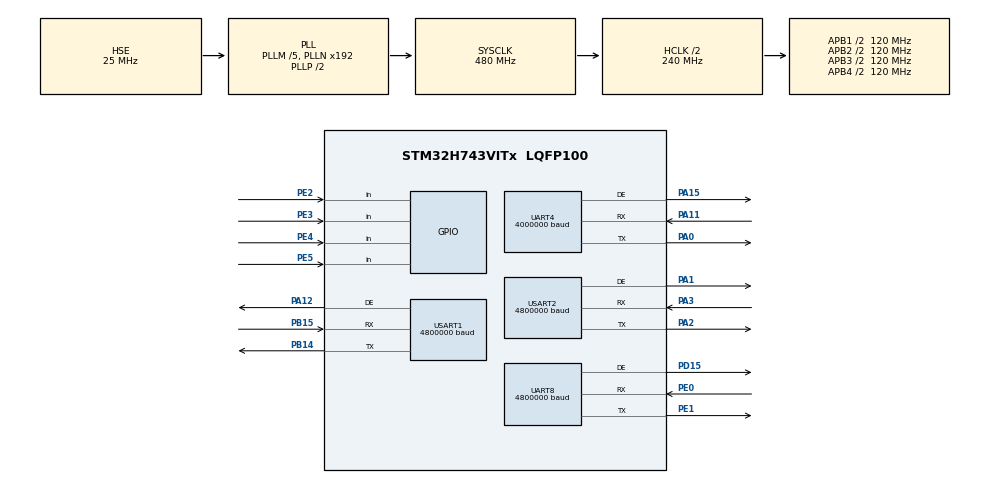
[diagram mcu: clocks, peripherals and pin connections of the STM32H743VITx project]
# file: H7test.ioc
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CORTEX_M7.default_mode_Activation=1
Mcu.Family=STM32H7
Mcu.Name=STM32H743VITx
Mcu.Package=LQFP100
NVIC.PriorityGroup=NVIC_PRIORITYGROUP_4
NVIC.TIM2_IRQn=true\:15\:0\:true\:false\:true\:true\:true\:true
PA0.GPIO_Speed=GPIO_SPEED_FREQ_HIGH
PA0.Mode=Asynchronous
PA0.Signal=UART4_TX
PA1.GPIO_PuPd=GPIO_PULLDOWN
PA1.GPIO_Speed=GPIO_SPEED_FREQ_HIGH
PA1.Mode=Hardware Flow Control (RS485)
PA1.Signal=USART2_DE
PA11.GPIO_PuPd=GPIO_PULLUP
PA11.GPIO_Speed=GPIO_SPEED_FREQ_HIGH
PA11.Mode=Asynchronous
PA11.Signal=UART4_RX
PA12.GPIO_PuPd=GPIO_PULLDOWN
PA12.GPIO_Speed=GPIO_SPEED_FREQ_HIGH
PA12.Mode=Hardware Flow Control (RS485)
PA12.Signal=USART1_DE
PA15\ (JTDI).GPIO_PuPd=GPIO_PULLDOWN
PA15\ (JTDI).GPIO_Speed=GPIO_SPEED_FREQ_HIGH
PA15\ (JTDI).Mode=Hardware Flow Control (RS485)
PA15\ (JTDI).Signal=UART4_DE
PA2.GPIO_Speed=GPIO_SPEED_FREQ_HIGH
PA2.Mode=Asynchronous
PA2.Signal=USART2_TX
PA3.GPIO_PuPd=GPIO_PULLUP
PA3.GPIO_Speed=GPIO_SPEED_FREQ_HIGH
PA3.Mode=Asynchronous
PA3.Signal=USART2_RX
PB14.GPIO_Speed=GPIO_SPEED_FREQ_HIGH
PB14.Mode=Asynchronous
PB14.Signal=USART1_TX
PB15.GPIO_PuPd=GPIO_PULLUP
PB15.GPIO_Speed=GPIO_SPEED_FREQ_HIGH
PB15.Mode=Asynchronous
PB15.Signal=USART1_RX
PD15.GPIO_PuPd=GPIO_PULLDOWN
PD15.GPIO_Speed=GPIO_SPEED_FREQ_HIGH
PD15.Mode=Hardware Flow Control (RS485)
PD15.Signal=UART8_DE
PE0.GPIO_PuPd=GPIO_PULLUP
PE0.GPIO_Speed=GPIO_SPEED_FREQ_HIGH
PE0.Mode=Asynchronous
PE0.Signal=UART8_RX
PE1.GPIO_PuPd=GPIO_NOPULL
PE1.GPIO_Speed=GPIO_SPEED_FREQ_HIGH
PE1.Mode=Asynchronous
PE1.Signal=UART8_TX
PE2.GPIO_PuPd=GPIO_PULLUP
PE2.Signal=GPIO_Input
PE3.GPIO_PuPd=GPIO_PULLUP
PE3.Signal=GPIO_Input
PE4.GPIO_PuPd=GPIO_PULLUP
PE4.Signal=GPIO_Input
PE5.GPIO_PuPd=GPIO_PULLUP
PE5.Signal=GPIO_Input
PH0-OSC_IN\ (PH0).Mode=HSE-External-Oscillator
PH0-OSC_IN\ (PH0).Signal=RCC_OSC_IN
PH1-OSC_OUT\ (PH1).Mode=HSE-External-Oscillator
PH1-OSC_OUT\ (PH1).Signal=RCC_OSC_OUT
ProjectManager.HeapSize=0x200
ProjectManager.StackSize=0x4000
ProjectManager.TargetToolchain=MDK-ARM V5.32
RCC.ADCFreq_Value=50390625
RCC.APB1Freq_Value=120000000
RCC.APB2Freq_Value=120000000
RCC.APB3Freq_Value=120000000
RCC.APB4Freq_Value=120000000
RCC.CortexFreq_Value=480000000
RCC.D1PPRE=RCC_APB3_DIV2
RCC.D2PPRE1=RCC_APB1_DIV2
RCC.D2PPRE2=RCC_APB2_DIV2
RCC.D3PPRE=RCC_APB4_DIV2
RCC.DIVM1=5
RCC.DIVN1=192
RCC.HCLKFreq_Value=240000000
RCC.HPRE=RCC_HCLK_DIV2
RCC.PLLFRACN=0
RCC.PLLSourceVirtual=RCC_PLLSOURCE_HSE
RCC.SYSCLKFreq_VALUE=480000000
RCC.SYSCLKSource=RCC_SYSCLKSOURCE_PLLCLK
RCC.USBFreq_Value=480000000
TIM2.AutoReloadPreload=TIM_AUTORELOAD_PRELOAD_ENABLE
TIM2.Period=20000-1
TIM2.Prescaler=240-1
UART4.BaudRate=4000000
UART8.BaudRate=4800000
UART8.DMADisableonRxErrorParam=UART_ADVFEATURE_DMA_DISABLEONRXERROR
UART8.OverrunDisableParam=UART_ADVFEATURE_OVERRUN_DISABLE
USART1.BaudRate=4800000
USART1.VirtualMode-Asynchronous=VM_ASYNC
USART1.VirtualMode-Hardware\ Flow\ Control\ (RS485)=VM_ASYNC
USART2.BaudRate=4800000
USART2.VirtualMode-Asynchronous=VM_ASYNC
USART2.VirtualMode-Hardware\ Flow\ Control\ (RS485)=VM_ASYNC
VP_MEMORYMAP_VS_MEMORYMAP.Mode=CurAppReg
VP_TIM2_VS_ClockSourceINT.Mode=Internal
board=custom

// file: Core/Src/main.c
/* USER CODE BEGIN Header */
/**
  ******************************************************************************
  * @file           : main.c
  * @brief          : Main program body
  ******************************************************************************
  * @attention
  *
  * Copyright (c) 2025 STMicroelectronics.
  * All rights reserved.
  *
  * This software is licensed under terms that can be found in the LICENSE file
  * in the root directory of this software component.
  * If no LICENSE file comes with this software, it is provided AS-IS.
  *
  ******************************************************************************
  */
/* USER CODE END Header */
#include "main.h"
#include "tim.h"
#include "usart.h"
#include "gpio.h"

/* USER CODE BEGIN Includes */
#include "A1_motor_drive.h"
#include "motor_msg.h"
#include "joint.h"
#include <stdio.h>
#include "calc.h"
#include "key_state_machine.h"
#include "main.h"
/* USER CODE END Includes */

/* USER CODE BEGIN PD */
#define BroadAllMotorID 0xBB
/* USER CODE END PD */

/* USER CODE BEGIN PV */
uint8_t cstate;
uint8_t cmode;
uint32_t now1;
uint32_t now2;
uint32_t del_t;
uint8_t j;
uint8_t k;
uint8_t first_zero = 0;
KeyTypeDef k1;
/* USER CODE END PV */

void SystemClock_Config(void);
static void MPU_Config(void);

int main(void)
{

  /* MPU Configuration--------------------------------------------------------*/
  MPU_Config();

  /* MCU Configuration--------------------------------------------------------*/

  /* Reset of all peripherals, Initializes the Flash interface and the Systick. */
  HAL_Init();

  /* Configure the system clock */
  SystemClock_Config();

  /* Initialize all configured peripherals */
  MX_GPIO_Init();
  MX_TIM2_Init();
  MX_USART1_UART_Init();
  MX_USART2_UART_Init();
  MX_UART4_Init();
  MX_UART8_Init();
  /* USER CODE BEGIN 2 */

//	 while (fabsf(zero_group3_ID1) <= 1e-6)
//	 {
//		//group1
//			// ��ȡID0���
//				 modify_torque_cmd(&MotorA1_send_group3,1,0.0f);
//				 unitreeA1_rxtx(&huart8, 3);
//				 zero_group3_ID1 = MotorA1_recv_group3_id1.Pos;
//				 HAL_Delay(1);
//	 }

	Joint_Zero_init_Type1();
	HAL_TIM_Base_Start_IT(&htim2);

//	modify_changeid_cmd(&MotorA1_send_group2,10);
//	unitreeA1_rxtx(&huart2, 2);
//	HAL_Delay(10);

	j = 0;
	k = 0;

  /* USER CODE END 2 */

  /* Infinite loop */
  while (1)
  {

    /* USER CODE BEGIN 3 */
//		uint8_t Data[5] = {0x00,0x01,0x02,0x03,0x04};
//		HAL_UART_Transmit(&huart1,Data,5,1);
//		HAL_Delay(1);

		//cstate = Key_GetTaskState();

		now1 = HAL_GetTick();
		k1 = Key1_scope();
		//cmode = Key_GetCurrentMode();

		if (task_running) {
			if(current_mode == 0 && zero_init == 1)
			{
			 	zero_group1_ID0 = 0.0f;
			 	zero_group1_ID1 = 0.0f;

			 	zero_group2_ID0 = 0.0f;
			 	zero_group2_ID1 = 0.0f;

			 	zero_group3_ID0 = 0.0f;
			 	zero_group3_ID1 = 0.0f;

			 	zero_group4_ID0 = 0.0f;
			 	zero_group4_ID1 = 0.0f;
			 	zero_init = 0;
				Joint_Zero_init_Type1();

				if(first_zero == 0)
				{
					zeros[0] = zero_group1_ID0;
					zeros[1] = zero_group1_ID1;
					zeros[2] = zero_group2_ID0;
					zeros[3] = zero_group2_ID1;
					zeros[4] = zero_group3_ID0;
					zeros[5] = zero_group3_ID1;
					zeros[6] = zero_group4_ID0;
					zeros[7] = zero_group4_ID1;
					first_zero = 1;
				}
			}

//			if (data_logging)
//				{
//						calculate_errors(motor_angle[6][step_mode_3], motor_omega[6][step_mode_3]);
//					if(step_mode_3 == STEP_NUM)
//					{
//						data_logging = 0;
//					}
//				}

//			if(cmode == 1 && j == 0)
//			{
//					modify_changeid_cmd(&MotorA1_send_group2,11);
//					unitreeA1_rxtx(&huart2, 2);
//					j++;
//					HAL_Delay(10);
//
//			}
//			if(cmode == 2 && k == 0)
//			{
//					modify_changeid_cmd(&MotorA1_send_group2,0);
//					unitreeA1_rxtx(&huart2, 2);
//					k++;
//					HAL_Delay(10);
//			}

			now2 = HAL_GetTick();
			del_t = now2-now1;
    }
		else
		{
			motor_relax();

//			modify_changeid_cmd(&MotorA1_send_group2,10);
//			unitreeA1_rxtx(&huart2,2);
//			HAL_Delay(10);

		}
	}

  /* USER CODE END 3 */
}

void SystemClock_Config(void)
{
  RCC_OscInitTypeDef RCC_OscInitStruct = {0};
  RCC_ClkInitTypeDef RCC_ClkInitStruct = {0};

  /** Supply configuration update enable
  */
  HAL_PWREx_ConfigSupply(PWR_LDO_SUPPLY);

  /** Configure the main internal regulator output voltage
  */
  __HAL_PWR_VOLTAGESCALING_CONFIG(PWR_REGULATOR_VOLTAGE_SCALE0);

  while(!__HAL_PWR_GET_FLAG(PWR_FLAG_VOSRDY)) {}

  /** Initializes the RCC Oscillators according to the specified parameters
  * in the RCC_OscInitTypeDef structure.
  */
  RCC_OscInitStruct.OscillatorType = RCC_OSCILLATORTYPE_HSE;
  RCC_OscInitStruct.HSEState = RCC_HSE_ON;
  RCC_OscInitStruct.PLL.PLLState = RCC_PLL_ON;
  RCC_OscInitStruct.PLL.PLLSource = RCC_PLLSOURCE_HSE;
  RCC_OscInitStruct.PLL.PLLM = 5;
  RCC_OscInitStruct.PLL.PLLN = 192;
  RCC_OscInitStruct.PLL.PLLP = 2;
  RCC_OscInitStruct.PLL.PLLQ = 2;
  RCC_OscInitStruct.PLL.PLLR = 2;
  RCC_OscInitStruct.PLL.PLLRGE = RCC_PLL1VCIRANGE_2;
  RCC_OscInitStruct.PLL.PLLVCOSEL = RCC_PLL1VCOWIDE;
  RCC_OscInitStruct.PLL.PLLFRACN = 0;
  if (HAL_RCC_OscConfig(&RCC_OscInitStruct) != HAL_OK)
  {
    Error_Handler();
  }

  /** Initializes the CPU, AHB and APB buses clocks
  */
  RCC_ClkInitStruct.ClockType = RCC_CLOCKTYPE_HCLK|RCC_CLOCKTYPE_SYSCLK
                              |RCC_CLOCKTYPE_PCLK1|RCC_CLOCKTYPE_PCLK2
                              |RCC_CLOCKTYPE_D3PCLK1|RCC_CLOCKTYPE_D1PCLK1;
  RCC_ClkInitStruct.SYSCLKSource = RCC_SYSCLKSOURCE_PLLCLK;
  RCC_ClkInitStruct.SYSCLKDivider = RCC_SYSCLK_DIV1;
  RCC_ClkInitStruct.AHBCLKDivider = RCC_HCLK_DIV2;
  RCC_ClkInitStruct.APB3CLKDivider = RCC_APB3_DIV2;
  RCC_ClkInitStruct.APB1CLKDivider = RCC_APB1_DIV2;
  RCC_ClkInitStruct.APB2CLKDivider = RCC_APB2_DIV2;
  RCC_ClkInitStruct.APB4CLKDivider = RCC_APB4_DIV2;

  if (HAL_RCC_ClockConfig(&RCC_ClkInitStruct, FLASH_LATENCY_4) != HAL_OK)
  {
    Error_Handler();
  }
}

/* USER CODE BEGIN 4 */
void HAL_TIM_PeriodElapsedCallback(TIM_HandleTypeDef *htim)
{

	if (htim->Instance == TIM2)
  {
		Key_Process();
		Task_Execute();

	}
}

/* USER CODE END 4 */

 /* MPU Configuration */

void MPU_Config(void)
{
  MPU_Region_InitTypeDef MPU_InitStruct = {0};

  /* Disables the MPU */
  HAL_MPU_Disable();

  /** Initializes and configures the Region and the memory to be protected
  */
  MPU_InitStruct.Enable = MPU_REGION_ENABLE;
  MPU_InitStruct.Number = MPU_REGION_NUMBER0;
  MPU_InitStruct.BaseAddress = 0x0;
  MPU_InitStruct.Size = MPU_REGION_SIZE_4GB;
  MPU_InitStruct.SubRegionDisable = 0x87;
  MPU_InitStruct.TypeExtField = MPU_TEX_LEVEL0;
  MPU_InitStruct.AccessPermission = MPU_REGION_NO_ACCESS;
  MPU_InitStruct.DisableExec = MPU_INSTRUCTION_ACCESS_DISABLE;
  MPU_InitStruct.IsShareable = MPU_ACCESS_SHAREABLE;
  MPU_InitStruct.IsCacheable = MPU_ACCESS_NOT_CACHEABLE;
  MPU_InitStruct.IsBufferable = MPU_ACCESS_NOT_BUFFERABLE;

  HAL_MPU_ConfigRegion(&MPU_InitStruct);
  /* Enables the MPU */
  HAL_MPU_Enable(MPU_PRIVILEGED_DEFAULT);

}

void Error_Handler(void)
{
  __disable_irq();
  while (1)
  {
  }
}
